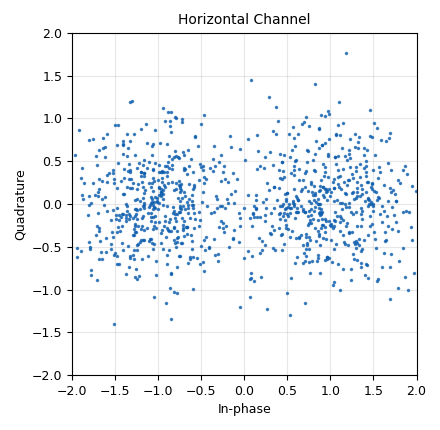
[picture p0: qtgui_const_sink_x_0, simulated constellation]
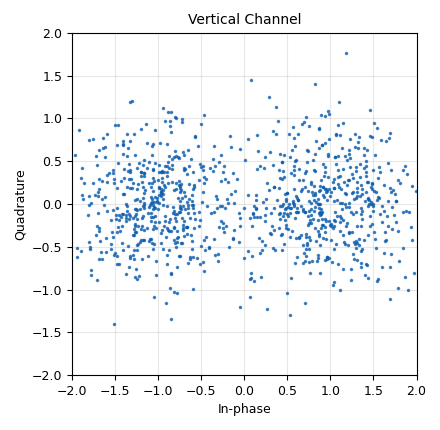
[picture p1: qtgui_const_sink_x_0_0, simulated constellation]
options:
  parameters:
    author: William Barnhart
    category: Custom
    description: Adjust the noise and constellation... see what happens!
    generate_options: qt_gui
    id: ber_simulation
    output_language: python
    title: BER Simulation
  states: {}

blocks:
- name: EbN0
  id: variable_qtgui_range
  parameters:
    gui_hint: 5,0,1,1
    label: Eb / N0 (dB)
    min_len: '50'
    orient: Qt.Horizontal
    start: '-10'
    step: '1'
    stop: '20'
    value: '1'
  states: {}
- name: const
  id: variable
  parameters:
    value: (digital.constellation_bpsk(), digital.constellation_qpsk(), digital.constellation_8psk())
  states: {}
- name: const_type
  id: variable
  parameters:
    comment: Change me!
    value: '0'
  states: {}
- name: freq
  id: variable
  parameters:
    value: 1e3
  states: {}
- name: offset
  id: variable_qtgui_range
  parameters:
    gui_hint: 5,1
    label: Offset
    min_len: '10'
    orient: Qt.Horizontal
    start: '0'
    step: math.pi/20
    stop: math.pi/2.0
    value: 5*math.pi/20
  states: {}
- name: samp_rate
  id: variable
  parameters:
    value: 100e3
  states: {}
- name: samples
  id: variable
  parameters:
    value: '10000000'
  states: {}
- name: variable_qtgui_label_0
  id: variable_qtgui_label
  parameters:
    label: Constellation Type
    type: string
    value: '{0: ''BPSK'', 1: ''QPSK'', 2: ''8-PSK''}[const_type] + " - Change const_type for different constellation types!"'
  states: {}
- name: Maximal_Combining_0
  id: Maximal_Combining
  parameters:
    filter_alpha: '1e-3'
    tag_samps: '1000'
  states: {}
- name: Selective_Combining_0
  id: Selective_Combining
  parameters:
    filter_alpha: '1e-3'
    tag_samps: '1000'
  states: {}
- name: Selective_Combining_BPSK_0
  id: Selective_Combining_BPSK
  parameters:
    filter_alpha: '1e-3'
    tag_samps: '1000'
  states: {state: disabled}
- name: analog_noise_source_x
  id: analog_noise_source_x
  parameters:
    amp: 1.0 / math.sqrt(2.0 * const[const_type].bits_per_symbol() * 10**(math.cos(offset)*math.cos(offset)*EbN0/10))
    noise_type: analog.GR_GAUSSIAN
    seed: '-42'
    type: complex
  states: {}
- name: analog_noise_source_x_0
  id: analog_noise_source_x
  parameters:
    amp: 1.0 / math.sqrt(2.0 * const[const_type].bits_per_symbol() * 10**(math.cos(math.pi/2-offset)*math.cos(math.pi/2-offset)*EbN0/10))
    noise_type: analog.GR_GAUSSIAN
    seed: '-42'
    type: complex
  states: {}
- name: analog_random_source_x
  id: analog_random_source_x
  parameters:
    max: const[const_type].arity()
    min: '0'
    num_samps: samples
    repeat: 'False'
    type: byte
  states: {}
- name: blocks_add_xx
  id: blocks_add_xx
  parameters:
    type: complex
  states: {}
- name: blocks_add_xx_0
  id: blocks_add_xx
  parameters:
    type: complex
  states: {}
- name: blocks_pack_k_bits_bb_0
  id: blocks_pack_k_bits_bb
  parameters:
    k: '1'
  states: {}
- name: blocks_throttle
  id: blocks_throttle
  parameters:
    samples_per_second: samp_rate
    type: byte
  states: {}
- name: digital_chunks_to_symbols_xx
  id: digital_chunks_to_symbols_xx
  parameters:
    dimension: '1'
    in_type: byte
    out_type: complex
    symbol_table: const[const_type].points()
  states: {}
- name: digital_constellation_decoder_cb_0
  id: digital_constellation_decoder_cb
  parameters:
    constellation: const[const_type].base()
  states: {}
- name: digital_constellation_decoder_cb_0_0
  id: digital_constellation_decoder_cb
  parameters:
    constellation: const[const_type].base()
  states: {}
- name: digital_constellation_decoder_cb_0_0_0
  id: digital_constellation_decoder_cb
  parameters:
    constellation: const[const_type].base()
  states: {}
- name: digital_constellation_decoder_cb_0_0_0_0
  id: digital_constellation_decoder_cb
  parameters:
    constellation: const[const_type].base()
  states: {}
- name: fec_ber_bf_0
  id: fec_ber_bf
  parameters:
    comment: BER is 10^(Reported Value)
    test_mode: 'False'
  states: {}
- name: fec_ber_bf_0_0
  id: fec_ber_bf
  parameters:
    test_mode: 'False'
  states: {}
- name: fec_ber_bf_0_0_0
  id: fec_ber_bf
  parameters:
    test_mode: 'False'
  states: {}
- name: fec_ber_bf_0_0_0_0
  id: fec_ber_bf
  parameters:
    berlimit: '-7'
    test_mode: 'False'
  states: {}
- name: import_0
  id: import
  parameters:
    imports: import math, cmath, numpy
  states: {}
- name: qtgui_const_sink_x_0
  id: qtgui_const_sink_x
  parameters:
    alpha1: '0.6'
    grid: 'True'
    gui_hint: (2,0,1,1)
    label1: '"Constellation: "+str(const[const_type].arity()) + "-PSK"'
    legend: 'False'
    name: '"Horizontal Channel"'
    size: '1024'
    type: complex
  states: {}
- name: qtgui_const_sink_x_0_0
  id: qtgui_const_sink_x
  parameters:
    alpha1: '0.6'
    grid: 'True'
    gui_hint: (2,1,1,1)
    label1: '"Constellation: "+str(const[const_type].arity()) + "-PSK"'
    legend: 'False'
    name: '"Vertical Channel"'
    size: '1024'
    type: complex
  states: {}
- name: qtgui_const_sink_x_0_0_0
  id: qtgui_const_sink_x
  parameters:
    alpha1: '0.6'
    grid: 'True'
    gui_hint: (4,0,1,1)
    label1: '"Constellation: "+str(const[const_type].arity()) + "-PSK"'
    legend: 'False'
    name: '"Result of Maximal Combining"'
    size: '1024'
    type: complex
    xmax: '3'
    xmin: '-3'
    ymax: '3'
    ymin: '-3'
  states: {}
- name: qtgui_const_sink_x_0_0_0_0
  id: qtgui_const_sink_x
  parameters:
    alpha1: '0.6'
    grid: 'True'
    gui_hint: 4,1,1,1
    label1: '"Constellation: "+str(const[const_type].arity()) + "-PSK"'
    legend: 'False'
    name: '"Result of Selective Combining"'
    size: '1024'
    type: complex
  states: {}
- name: qtgui_number_sink_0
  id: qtgui_number_sink
  parameters:
    autoscale: 'True'
    graph_type: qtgui.NUM_GRAPH_HORIZ
    gui_hint: 1,0,1,1
    label1: BER
    min: '0'
    name: '"Horizontal"'
    type: float
    update_time: '0.1'
  states: {}
- name: qtgui_number_sink_0_0
  id: qtgui_number_sink
  parameters:
    autoscale: 'True'
    graph_type: qtgui.NUM_GRAPH_HORIZ
    gui_hint: 1,1,1,1
    label1: BER
    min: '0'
    name: '"Vertical"'
    type: float
    update_time: '0.1'
  states: {}
- name: qtgui_number_sink_0_0_0
  id: qtgui_number_sink
  parameters:
    autoscale: 'True'
    graph_type: qtgui.NUM_GRAPH_HORIZ
    gui_hint: 3,0,1,1
    label1: BER
    min: '0'
    name: '"Maximally Combined"'
    type: float
    update_time: '0.1'
  states: {}
- name: qtgui_number_sink_0_0_0_0
  id: qtgui_number_sink
  parameters:
    autoscale: 'True'
    graph_type: qtgui.NUM_GRAPH_HORIZ
    gui_hint: 3,1,1,1
    label1: BER
    min: '0'
    name: '"Selectively Combined"'
    type: float
    update_time: '0.1'
  states: {}

connections:
- [Maximal_Combining_0, '0', digital_constellation_decoder_cb_0_0_0, '0']
- [Maximal_Combining_0, '0', qtgui_const_sink_x_0_0_0, '0']
- [Selective_Combining_0, '0', digital_constellation_decoder_cb_0_0_0_0, '0']
- [Selective_Combining_0, '0', qtgui_const_sink_x_0_0_0_0, '0']
- [Selective_Combining_BPSK_0, '0', digital_constellation_decoder_cb_0_0_0_0, '0']
- [Selective_Combining_BPSK_0, '0', qtgui_const_sink_x_0_0_0_0, '0']
- [analog_noise_source_x, '0', blocks_add_xx_0, '1']
- [analog_noise_source_x_0, '0', blocks_add_xx, '1']
- [analog_random_source_x, '0', blocks_throttle, '0']
- [blocks_add_xx, '0', Maximal_Combining_0, '0']
- [blocks_add_xx, '0', Selective_Combining_0, '0']
- [blocks_add_xx, '0', Selective_Combining_BPSK_0, '0']
- [blocks_add_xx, '0', digital_constellation_decoder_cb_0, '0']
- [blocks_add_xx, '0', qtgui_const_sink_x_0, '0']
- [blocks_add_xx_0, '0', Maximal_Combining_0, '1']
- [blocks_add_xx_0, '0', Selective_Combining_0, '1']
- [blocks_add_xx_0, '0', Selective_Combining_BPSK_0, '1']
- [blocks_add_xx_0, '0', digital_constellation_decoder_cb_0_0, '0']
- [blocks_add_xx_0, '0', qtgui_const_sink_x_0_0, '0']
- [blocks_pack_k_bits_bb_0, '0', fec_ber_bf_0, '0']
- [blocks_pack_k_bits_bb_0, '0', fec_ber_bf_0_0, '1']
- [blocks_pack_k_bits_bb_0, '0', fec_ber_bf_0_0_0, '1']
- [blocks_pack_k_bits_bb_0, '0', fec_ber_bf_0_0_0_0, '1']
- [blocks_throttle, '0', blocks_pack_k_bits_bb_0, '0']
- [blocks_throttle, '0', digital_chunks_to_symbols_xx, '0']
- [digital_chunks_to_symbols_xx, '0', blocks_add_xx, '0']
- [digital_chunks_to_symbols_xx, '0', blocks_add_xx_0, '0']
- [digital_constellation_decoder_cb_0, '0', fec_ber_bf_0, '1']
- [digital_constellation_decoder_cb_0_0, '0', fec_ber_bf_0_0, '0']
- [digital_constellation_decoder_cb_0_0_0, '0', fec_ber_bf_0_0_0, '0']
- [digital_constellation_decoder_cb_0_0_0_0, '0', fec_ber_bf_0_0_0_0, '0']
- [fec_ber_bf_0, '0', qtgui_number_sink_0, '0']
- [fec_ber_bf_0_0, '0', qtgui_number_sink_0_0, '0']
- [fec_ber_bf_0_0_0, '0', qtgui_number_sink_0_0_0, '0']
- [fec_ber_bf_0_0_0_0, '0', qtgui_number_sink_0_0_0_0, '0']

metadata:
  file_format: 1
